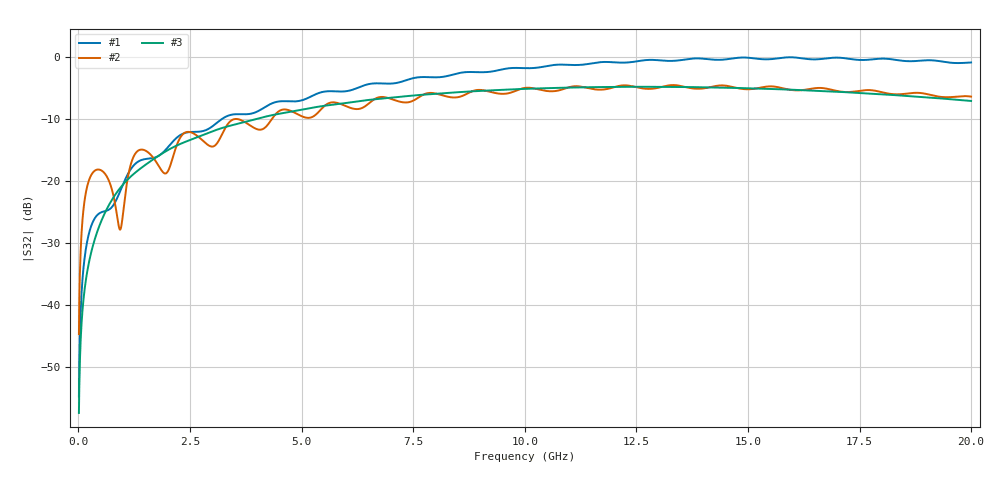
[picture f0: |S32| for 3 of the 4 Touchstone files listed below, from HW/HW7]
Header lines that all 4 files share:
! Touchstone generated by fitter/viewer
# HZ S  RI R 5.000000e+001
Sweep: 10 MHz to 20 GHz
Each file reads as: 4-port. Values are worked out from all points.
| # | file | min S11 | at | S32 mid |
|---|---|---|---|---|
| 1 | Q2_Dk.s4p | -55.7 dB | 15.95 GHz | -1.8 dB at 10.01 GHz |
| 2 | Q2_Impmismatch.s4p | -33.4 dB | 10 MHz | -4.9 dB at 10.01 GHz |
| 3 | Q2_ImpmismatchLowZ.s4p | -59.0 dB | 17.55 GHz | -5.1 dB at 10.01 GHz |
| 4 | Q2_moreDf.s4p | -55.7 dB | 15.95 GHz | -1.8 dB at 10.01 GHz |
